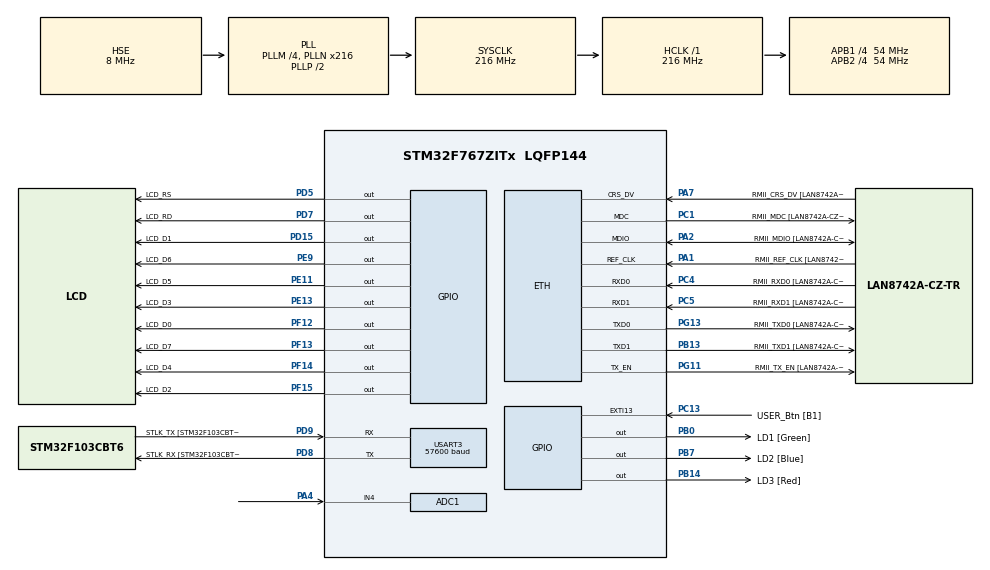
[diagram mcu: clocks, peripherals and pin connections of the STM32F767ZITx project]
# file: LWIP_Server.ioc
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ADC1.Channel-0\#ChannelRegularConversion=ADC_CHANNEL_4
ADC1.NbrOfConversionFlag=1
ADC1.Rank-0\#ChannelRegularConversion=1
ADC1.SamplingTime-0\#ChannelRegularConversion=ADC_SAMPLETIME_3CYCLES
ADC1.master=1
ETH.MediaInterface=ETH_MEDIA_INTERFACE_RMII
ETH.PHY_Name=LAN8742A_PHY_ADDRESS
ETH.PHY_Value=0
ETH.PhyAddress=0
LWIP.IP_ADDRESS=192.168.100.001
LWIP.LWIP_DHCP=0
LWIP.LWIP_HTTPD=0
LWIP.NETMASK_ADDRESS=255.255.255.000
LWIP.Version=v2.1.2_Cube
Mcu.Family=STM32F7
Mcu.Name=STM32F767ZITx
Mcu.Package=LQFP144
NVIC.PriorityGroup=NVIC_PRIORITYGROUP_4
NVIC.USART3_IRQn=true\:0\:0\:false\:false\:true\:true\:true
PA1.GPIO_Label=RMII_REF_CLK [LAN8742A-CZ-TR_REFCLK0]
PA1.Mode=RMII
PA1.Signal=ETH_REF_CLK
PA13.GPIO_Label=TMS
PA13.Mode=Serial_Wire
PA13.Signal=SYS_JTMS-SWDIO
PA14.GPIO_Label=TCK
PA14.Mode=Serial_Wire
PA14.Signal=SYS_JTCK-SWCLK
PA2.GPIO_Label=RMII_MDIO [LAN8742A-CZ-TR_MDIO]
PA2.Mode=RMII
PA2.Signal=ETH_MDIO
PA4.Signal=ADCx_IN4
PA7.GPIO_Label=RMII_CRS_DV [LAN8742A-CZ-TR_CRS_DV]
PA7.Mode=RMII
PA7.Signal=ETH_CRS_DV
PB0.GPIO_Label=LD1 [Green]
PB0.Signal=GPIO_Output
PB13.GPIO_Label=RMII_TXD1 [LAN8742A-CZ-TR_TXD1]
PB13.Mode=RMII
PB13.Signal=ETH_TXD1
PB14.GPIO_Label=LD3 [Red]
PB14.Signal=GPIO_Output
PB3.GPIO_Label=SWO
PB3.Signal=SYS_JTDO-SWO
PB7.GPIO_Label=LD2 [Blue]
PB7.Signal=GPIO_Output
PC1.GPIO_Label=RMII_MDC [LAN8742A-CZ-TR_MDC]
PC1.Mode=RMII
PC1.Signal=ETH_MDC
PC13.GPIO_Label=USER_Btn [B1]
PC13.Signal=GPXTI13
PC14/OSC32_IN.Mode=LSE-External-Oscillator
PC14/OSC32_IN.Signal=RCC_OSC32_IN
PC15/OSC32_OUT.Mode=LSE-External-Oscillator
PC15/OSC32_OUT.Signal=RCC_OSC32_OUT
PC4.GPIO_Label=RMII_RXD0 [LAN8742A-CZ-TR_RXD0]
PC4.Mode=RMII
PC4.Signal=ETH_RXD0
PC5.GPIO_Label=RMII_RXD1 [LAN8742A-CZ-TR_RXD1]
PC5.Mode=RMII
PC5.Signal=ETH_RXD1
PD15.GPIO_Label=LCD_D1
PD15.GPIO_Speed=GPIO_SPEED_FREQ_VERY_HIGH
PD15.Signal=GPIO_Output
PD5.GPIO_Label=LCD_RS
PD5.GPIO_Speed=GPIO_SPEED_FREQ_VERY_HIGH
PD5.Signal=GPIO_Output
PD7.GPIO_Label=LCD_RD
PD7.GPIO_Speed=GPIO_SPEED_FREQ_VERY_HIGH
PD7.Signal=GPIO_Output
PD8.GPIO_Label=STLK_RX [STM32F103CBT6_PA3]
PD8.Mode=Asynchronous
PD8.Signal=USART3_TX
PD9.GPIO_Label=STLK_TX [STM32F103CBT6_PA2]
PD9.Mode=Asynchronous
PD9.Signal=USART3_RX
PE11.GPIO_Label=LCD_D5
PE11.GPIO_Speed=GPIO_SPEED_FREQ_VERY_HIGH
PE11.Signal=GPIO_Output
PE13.GPIO_Label=LCD_D3
PE13.GPIO_Speed=GPIO_SPEED_FREQ_VERY_HIGH
PE13.Signal=GPIO_Output
PE9.GPIO_Label=LCD_D6
PE9.GPIO_Speed=GPIO_SPEED_FREQ_VERY_HIGH
PE9.Signal=GPIO_Output
PF12.GPIO_Label=LCD_D0
PF12.GPIO_Speed=GPIO_SPEED_FREQ_VERY_HIGH
PF12.Signal=GPIO_Output
PF13.GPIO_Label=LCD_D7
PF13.GPIO_Speed=GPIO_SPEED_FREQ_VERY_HIGH
PF13.Signal=GPIO_Output
PF14.GPIO_Label=LCD_D4
PF14.GPIO_Speed=GPIO_SPEED_FREQ_VERY_HIGH
PF14.Signal=GPIO_Output
PF15.GPIO_Label=LCD_D2
PF15.GPIO_Speed=GPIO_SPEED_FREQ_VERY_HIGH
PF15.Signal=GPIO_Output
PG11.GPIO_Label=RMII_TX_EN [LAN8742A-CZ-TR_TXEN]
PG11.Mode=RMII
PG11.Signal=ETH_TX_EN
PG13.GPIO_Label=RMII_TXD0 [LAN8742A-CZ-TR_TXD0]
PG13.Mode=RMII
PG13.Signal=ETH_TXD0
PH0/OSC_IN.GPIO_Label=MCO [STM32F103CBT6_PA8]
PH0/OSC_IN.Mode=HSE-External-Clock-Source
PH0/OSC_IN.Signal=RCC_OSC_IN
PH1/OSC_OUT.Mode=HSE-External-Clock-Source
PH1/OSC_OUT.Signal=RCC_OSC_OUT
ProjectManager.HeapSize=0x200
ProjectManager.StackSize=0x400
ProjectManager.TargetToolchain=STM32CubeIDE
RCC.48MHZClocksFreq_Value=24000000
RCC.AHBFreq_Value=216000000
RCC.APB1CLKDivider=RCC_HCLK_DIV4
RCC.APB1Freq_Value=54000000
RCC.APB1TimFreq_Value=108000000
RCC.APB2CLKDivider=RCC_HCLK_DIV4
RCC.APB2Freq_Value=54000000
RCC.APB2TimFreq_Value=108000000
RCC.CortexFreq_Value=216000000
RCC.HCLKFreq_Value=216000000
RCC.HSE_VALUE=8000000
RCC.HSI_VALUE=16000000
RCC.PLLM=4
RCC.PLLMUL=RCC_PLL_MUL9
RCC.PLLN=216
RCC.PLLQ=4
RCC.PLLSourceVirtual=RCC_PLLSOURCE_HSE
RCC.PRESCALERUSB=RCC_USBCLKSOURCE_PLL_DIV1_5
RCC.SYSCLKFreq_VALUE=216000000
RCC.SYSCLKSource=RCC_SYSCLKSOURCE_PLLCLK
RCC.SYSCLKSourceVirtual=RCC_SYSCLKSOURCE_PLLCLK
RCC.USBFreq_Value=108000000
RCC.VCOOutputFreq_Value=432000000
SH.ADCx_IN4.0=ADC1_IN4,IN4
TIM1.Prescaler=1080
TIM2.Prescaler=108
USART3.BaudRate=57600
USART3.VirtualMode-Asynchronous=VM_ASYNC
VP_LWIP_VS_Enabled.Mode=Enabled
VP_TIM1_VS_ClockSourceINT.Mode=Internal
VP_TIM2_VS_ClockSourceINT.Mode=Internal
board=NUCLEO-F767ZI

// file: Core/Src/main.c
/* USER CODE BEGIN Header */
/**
  ******************************************************************************
  * @file           : main.c
  * @brief          : Main program body
  ******************************************************************************
  * @attention
  *
  * Copyright (c) 2022 STMicroelectronics.
  * All rights reserved.
  *
  * This software is licensed under terms that can be found in the LICENSE file
  * in the root directory of this software component.
  * If no LICENSE file comes with this software, it is provided AS-IS.
  *
  ******************************************************************************
  */
/* USER CODE END Header */
#include "main.h"
#include "adc.h"
#include "lwip.h"
#include "tim.h"
#include "usart.h"
#include "gpio.h"

/* USER CODE BEGIN Includes */
#include <stdio.h>

#include "httpd.h"

#include "tft.h"
#include "snake_function.h"

#include "fonts.h"
/* USER CODE END Includes */

/* USER CODE BEGIN PD */
#define DEBUG_EXECUTION_TIME 0

#if DEBUG_EXECUTION_TIME
#define STOPWATCH_INIT()		(HAL_TIM_Base_Start(&htim1))
#define STOPWATCH_START() 		(htim1.Instance->CNT = 0)
#define STOPWATCH_STOP()  		(htim1.Instance->CNT)
#define STOPWATCH_PRINT(idx) 	(printf("%d:%lu\n",(idx), STOPWATCH_STOP()))
#else
#define STOPWATCH_INIT()		({})
#define STOPWATCH_START() 		({})
#define STOPWATCH_STOP() 		({})
#define STOPWATCH_PRINT(idx)	({(idx);})
#endif

/* USER CODE END PD */

void SystemClock_Config(void);
/* USER CODE BEGIN PFP */
void VS_DelayWithPolling(uint32_t Delay, fn_t func);
void VS_SnakeGameLoop(void);
/* USER CODE END PFP */

/* USER CODE BEGIN 0 */

uint32_t wrapped_delay(uint32_t delay)
{
	HAL_Delay(delay);
	return 0;
}
/* USER CODE END 0 */

int main(void)
{

  /* MCU Configuration--------------------------------------------------------*/

  /* Reset of all peripherals, Initializes the Flash interface and the Systick. */
  HAL_Init();

  /* Configure the system clock */
  SystemClock_Config();

  /* Initialize all configured peripherals */
  MX_GPIO_Init();
  MX_USART3_UART_Init();
  MX_LWIP_Init();
  MX_ADC1_Init();
  MX_TIM1_Init();
  MX_TIM2_Init();
  /* USER CODE BEGIN 2 */

  /*Initialize dependencies for snake game (TFT, Randomizer)*/
  snake_hw_init();
  httpd_init();
  /* Debug time execution timer */
  STOPWATCH_INIT();
  /* USER CODE END 2 */

  /* Infinite loop */
  while (1)
  {

    /* USER CODE BEGIN 3 */
	  VS_SnakeGameLoop();

  }
  /* USER CODE END 3 */
}

void SystemClock_Config(void)
{
  RCC_OscInitTypeDef RCC_OscInitStruct = {0};
  RCC_ClkInitTypeDef RCC_ClkInitStruct = {0};

  /** Configure LSE Drive Capability
  */
  HAL_PWR_EnableBkUpAccess();
  /** Configure the main internal regulator output voltage
  */
  __HAL_RCC_PWR_CLK_ENABLE();
  __HAL_PWR_VOLTAGESCALING_CONFIG(PWR_REGULATOR_VOLTAGE_SCALE1);
  /** Initializes the RCC Oscillators according to the specified parameters
  * in the RCC_OscInitTypeDef structure.
  */
  RCC_OscInitStruct.OscillatorType = RCC_OSCILLATORTYPE_HSE;
  RCC_OscInitStruct.HSEState = RCC_HSE_BYPASS;
  RCC_OscInitStruct.PLL.PLLState = RCC_PLL_ON;
  RCC_OscInitStruct.PLL.PLLSource = RCC_PLLSOURCE_HSE;
  RCC_OscInitStruct.PLL.PLLM = 4;
  RCC_OscInitStruct.PLL.PLLN = 216;
  RCC_OscInitStruct.PLL.PLLP = RCC_PLLP_DIV2;
  RCC_OscInitStruct.PLL.PLLQ = 4;
  RCC_OscInitStruct.PLL.PLLR = 2;
  if (HAL_RCC_OscConfig(&RCC_OscInitStruct) != HAL_OK)
  {
    Error_Handler();
  }
  /** Activate the Over-Drive mode
  */
  if (HAL_PWREx_EnableOverDrive() != HAL_OK)
  {
    Error_Handler();
  }
  /** Initializes the CPU, AHB and APB buses clocks
  */
  RCC_ClkInitStruct.ClockType = RCC_CLOCKTYPE_HCLK|RCC_CLOCKTYPE_SYSCLK
                              |RCC_CLOCKTYPE_PCLK1|RCC_CLOCKTYPE_PCLK2;
  RCC_ClkInitStruct.SYSCLKSource = RCC_SYSCLKSOURCE_PLLCLK;
  RCC_ClkInitStruct.AHBCLKDivider = RCC_SYSCLK_DIV1;
  RCC_ClkInitStruct.APB1CLKDivider = RCC_HCLK_DIV4;
  RCC_ClkInitStruct.APB2CLKDivider = RCC_HCLK_DIV4;

  if (HAL_RCC_ClockConfig(&RCC_ClkInitStruct, FLASH_LATENCY_7) != HAL_OK)
  {
    Error_Handler();
  }
}

/* USER CODE BEGIN 4 */
/*printf <=> uart redirection */
int _write(int file, char *ptr, int len)
{
	HAL_UART_Transmit(&huart3, (uint8_t*)ptr, len, HAL_MAX_DELAY);
	return len;
}

uint32_t VS_LWIP_Process_Wrapper(uint32_t optional_arg)
{
	MX_LWIP_Process();
	return optional_arg;
}

/**
  * @brief  This function is the implementation of Snake Game (infinite loop game)
  * @param  None
  * @retval None
  * @detail Game is played until crash happens
  */
void VS_SnakeGameLoop(void)
{
	  /*Snake (re)initiliazation */
	  snake_t snake = { 0 };
	  food_t food = { 0 };

	  snake_init(&snake);

	  while(1)
	  {

		STOPWATCH_START();
		snake_control(&snake);
		STOPWATCH_PRINT(1);

		STOPWATCH_START();
		snake_move(&snake);
		STOPWATCH_PRINT(2);

		snake_inform(&snake, &food);

		if (snake.state != PLAYING)
		{
			/* Make time to let user read information */
			snake_delay(3000, VS_LWIP_Process_Wrapper);
			break;
		}

		STOPWATCH_START();
		snake_haseaten(&snake, &food);
		STOPWATCH_PRINT(3);

		STOPWATCH_START();
		snake_display(&snake);
		STOPWATCH_PRINT(4);

		STOPWATCH_START();
		snake_place_food(&snake, &food);
		STOPWATCH_PRINT(5);

		STOPWATCH_START();
		snake_delay(150, VS_LWIP_Process_Wrapper);
		STOPWATCH_PRINT(6);
	  }
}
/* USER CODE END 4 */

void Error_Handler(void)
{
  __disable_irq();
  while (1)
  {
  }
}
